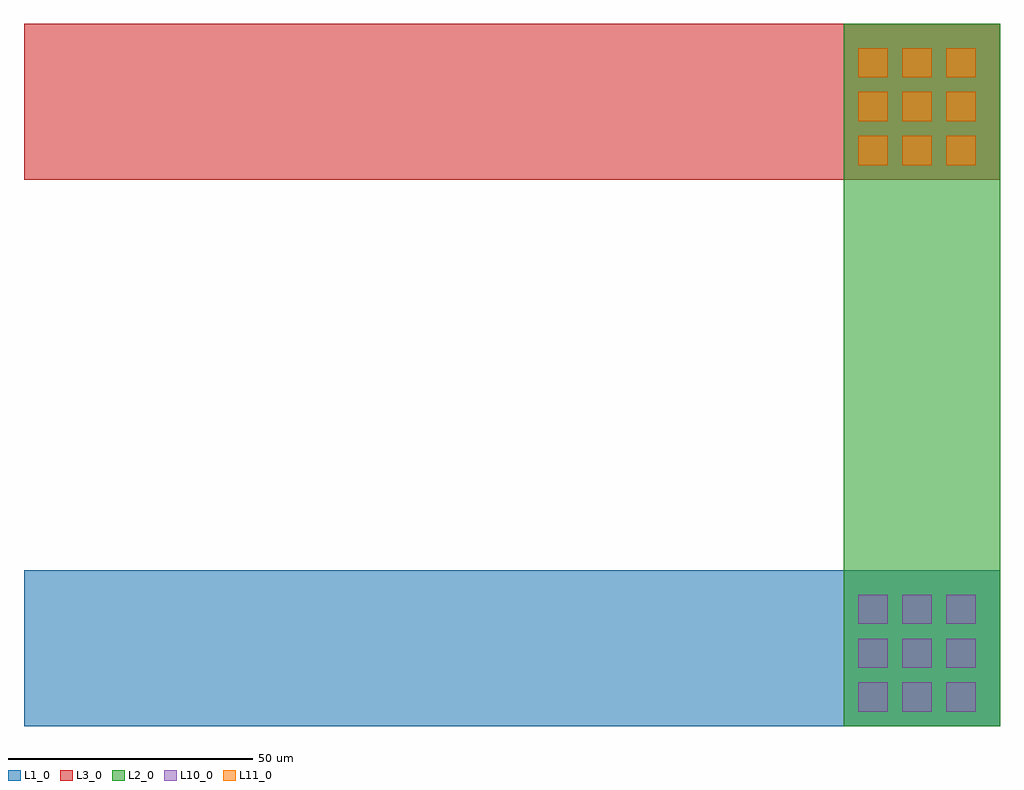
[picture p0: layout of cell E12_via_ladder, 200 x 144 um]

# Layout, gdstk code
import gdstk
lib = gdstk.Library(unit=1e-6, precision=1e-09)
def R(c, l, rs):  # rectangles x0, y0, x1, y1
    for r in rs: c.add(gdstk.rectangle(r[:2], r[2:], *l))
L1_0 = (1, 0)
L2_0 = (2, 0)
L3_0 = (3, 0)
L10_0 = (10, 0)
L11_0 = (11, 0)

via12_unit = lib.new_cell('VIA12_UNIT')
R(via12_unit, L10_0, [(0,0,6,6)])

via12_bank = lib.new_cell('VIA12_BANK')
r = gdstk.Reference(via12_unit, (0,0)); r.repetition = gdstk.Repetition(3, 3, v1=(9,0), v2=(0,9)); via12_bank.add(r)

via23_unit = lib.new_cell('VIA23_UNIT')
R(via23_unit, L11_0, [(0,0,6,6)])

via23_bank = lib.new_cell('VIA23_BANK')
r = gdstk.Reference(via23_unit, (0,0)); r.repetition = gdstk.Repetition(3, 3, v1=(9,0), v2=(0,9)); via23_bank.add(r)

e12_via_ladder = lib.new_cell('E12_via_ladder')
R(e12_via_ladder, L1_0, [(0,0,200,32)])
R(e12_via_ladder, L2_0, [(168,0,200,144)])
R(e12_via_ladder, L3_0, [(0,112,200,144)])
e12_via_ladder.add(gdstk.Reference(via12_bank, (171,3)))
e12_via_ladder.add(gdstk.Reference(via23_bank, (171,115)))

lib.write_gds('E12_via_ladder.gds')
